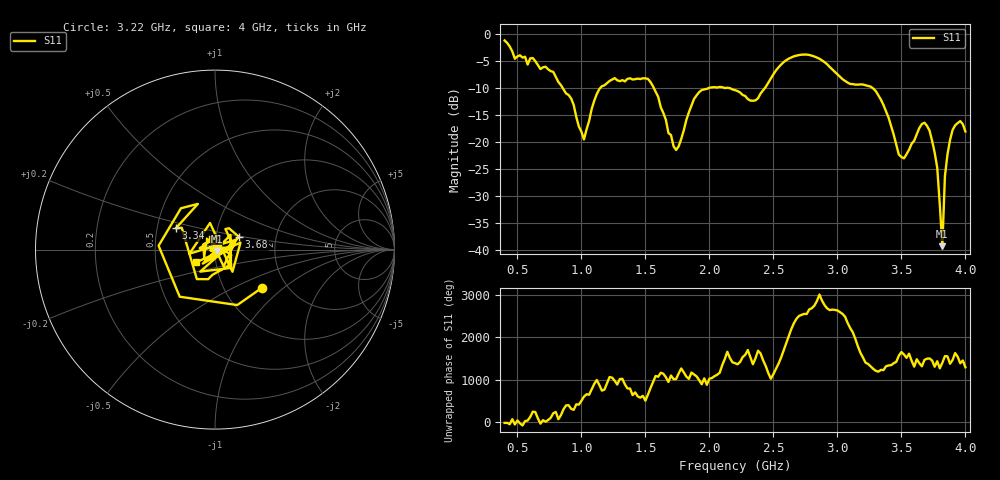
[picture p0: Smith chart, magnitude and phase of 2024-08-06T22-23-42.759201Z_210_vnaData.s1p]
!Created with skrf (http://scikit-rf.org).
# Hz S RI R 50.0
!freq ReS11 ImS11
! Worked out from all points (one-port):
!   181 points, 400 MHz to 4 GHz, reference 50 ohm
!   lowest |S11| = -39.2 dB at 3.82 GHz (marker M1), VSWR 1.02, Z = 50.8 - j0.718 ohm
!   |S11| at or under -10 dB: 855.2 MHz to 1.145 GHz (289.8 MHz wide, 29 % of centre); 1.567 GHz to 1.989 GHz (422.2 MHz wide, 23.7 % of centre); 3.278 GHz to end of sweep (the widest 3 of 4)
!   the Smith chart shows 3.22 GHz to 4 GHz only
!   S11 on the Smith chart (normalised r, x): 3.22 GHz: 1.51, -0.72; 3.34 GHz: 0.63, +0.16; 3.68 GHz: 1.30, +0.19; 4 GHz: 0.80, -0.11
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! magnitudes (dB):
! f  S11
! 400 MHz  -1.1
! 480 MHz  -4.5
! 620 MHz  -4.4
! 860 MHz  -10.2
! 1.02 GHz  -19.5
! 1.14 GHz  -10.1
! 1.3 GHz  -8.7
! 1.52 GHz  -8.3
! 1.72 GHz  -20.7
! 1.76 GHz  -20.7
! 1.92 GHz  -10.7
! 2.2 GHz  -10.3
! 2.36 GHz  -12.2
! 2.66 GHz  -4.1
! 2.86 GHz  -4.5
! 3.1 GHz  -9.2
! 3.22 GHz  -9.4
! 3.34 GHz  -12.1
! 3.48 GHz  -22.3
! 3.56 GHz  -21.4
! 3.68 GHz  -16.4
! 3.72 GHz  -17.8
! 3.78 GHz  -24.7
! 3.82 GHz  -39.2
! 3.84 GHz  -26.3
! 3.88 GHz  -19.6
! 3.96 GHz  -16.1
! 4 GHz  -18.0
